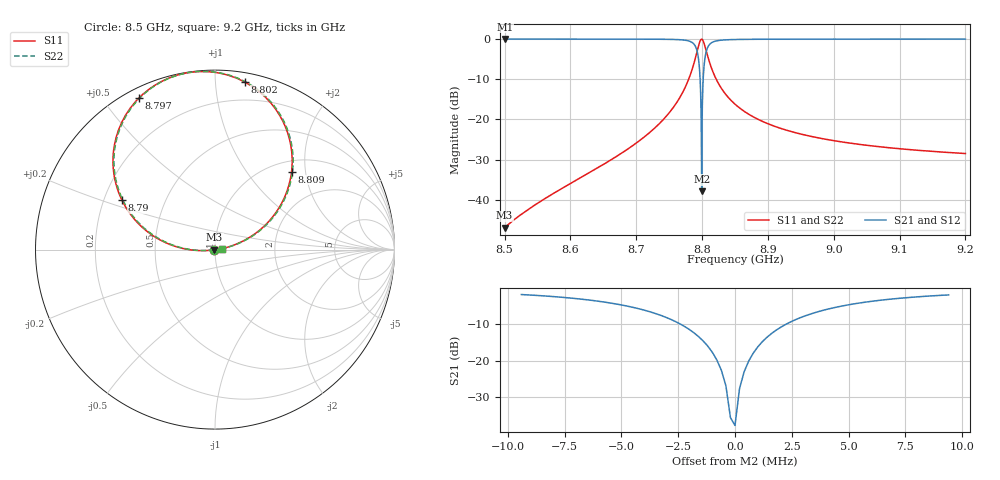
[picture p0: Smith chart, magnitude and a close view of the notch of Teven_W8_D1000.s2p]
! Sonnet Data File
! From: emgraph Version : 16.52
! From Project: transmon_brg
! Data is De-embedded
! Data File Written: 11/11/2017 22:44:25
!< HDATE 11/11/2017 16:55:33
!< MDATE 11/11/2017 17:38:18
!< PARAMS
!< Lj = 15.24
!< Gap = 6.0
!< Width = 10.0
!< Airgap = 6.0
!< Pwidth = 2000.0
!< Dist = 1000.0
!< END PARAMS
# GHZ S MA R 51.80000
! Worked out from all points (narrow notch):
!   3501 points, 8.5 GHz to 9.2 GHz, reference 51.8 ohm
!   highest |S21| = 0.00 dB at 8.501 GHz (marker M1); lowest = -37.9 dB at 8.799 GHz (marker M2)
!   notch at M2: 37.9 dB deep, 1.6 MHz wide at half that depth
!   lowest |S11| = -46.9 dB at 8.5 GHz (marker M3), VSWR 1.01, Z = 51.3 - j0.0842 ohm
!   |S11| at or under -10 dB: start of sweep to 8.78 GHz; 8.821 GHz to end of sweep
!   |S22| runs from -46.9 to 0.0 dB; largest |S21 - S12| = 0
!   S11 on the Smith chart (normalised r, x): 8.5 GHz: 0.99, -0.00; 8.79 GHz: 0.27, +0.23; 8.797 GHz: 0.04, +0.62; 8.802 GHz: 0.06, +1.19; 8.809 GHz: 1.22, +1.68; 9.2 GHz: 1.08, +0.01
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8.5  0.004498 -169.5  1 -79.8  1 -79.8  0.004498 -170.1
!< P1 F=8.5 Eeff=(6.44695349 -2.9785e-5) Z0=(51.7999087 1.19092e-4) R=0.0 C=0.0
!< P2 F=8.5 Eeff=(6.44695349 -2.9785e-5) Z0=(51.7999087 1.19092e-4) R=0.0 C=0.0
8.5008  0.004559 -169.5  1 -79.8  1 -79.8  0.004559 -170.1
8.6168  0.01911 -171.4  0.9998 -81.7  0.9998 -81.7  0.01911 -172.0
8.6882  0.04341 -173.5  0.999 -83.8  0.999 -83.8  0.0434 -174.1
8.7334  0.08596 -176.3  0.9963 -86.6  0.9963 -86.6  0.08596 -176.9
8.7584  0.149 179.8  0.9888 -90.5  0.9888 -90.5  0.149 179.2
8.7766  0.2757 172.2  0.961 -98.1  0.961 -98.1  0.2757 171.6
8.7846  0.4128 163.7  0.9103 -106.6  0.9103 -106.6  0.4128 163.1
8.79  0.5878 152.0  0.8078 -118.2  0.8078 -118.2  0.5878 151.4
8.7942  0.8004 134.7  0.5967 -135.4  0.5967 -135.4  0.8004 134.1
8.797  0.9461 116.5  0.3166 -153.4  0.3166 -153.4  0.9461 115.9
8.7994  0.9974 97.3  0.01278 -4.4  0.01278 -4.4  0.9974 96.7
8.8016  0.9484 79.9  0.3099 -10.8  0.3099 -10.8  0.9484 79.3
8.8044  0.8098 62.2  0.5839 -28.3  0.5839 -28.3  0.8098 61.6
8.8086  0.6088 45.5  0.7922 -44.9  0.7922 -44.9  0.6088 44.9
8.8138  0.4467 34.5  0.8941 -55.9  0.8941 -55.9  0.4467 33.9
8.821  0.322 26.6  0.9465 -63.7  0.9465 -63.7  0.322 26.0
8.85  0.1549 16.4  0.9879 -73.9  0.9879 -73.9  0.1549 15.8
8.8968  0.09061 12.3  0.9959 -78.0  0.9959 -78.0  0.09061 11.7
8.9668  0.06121 9.9  0.9981 -80.4  0.9981 -80.4  0.06121 9.3
9.0834  0.04449 7.9  0.999 -82.4  0.999 -82.4  0.04449 7.3
9.2  0.03764 6.4  0.9993 -83.9  0.9993 -83.9  0.03764 5.8
